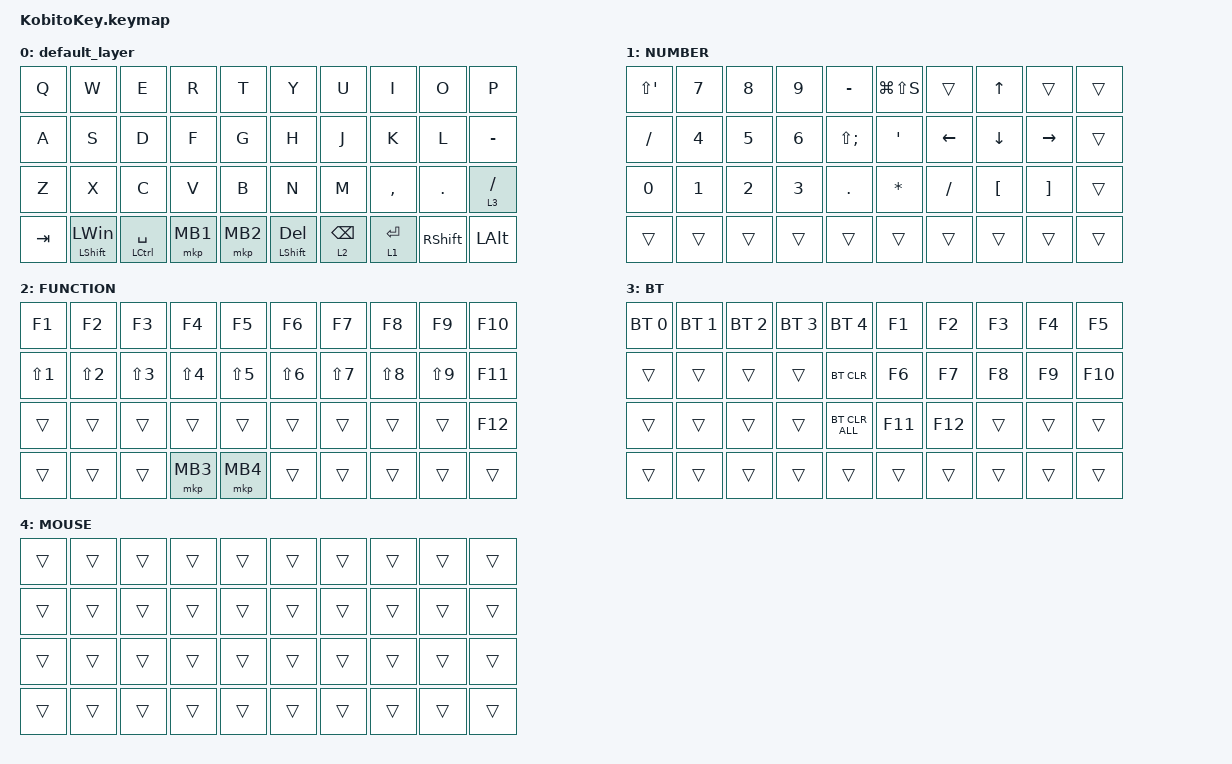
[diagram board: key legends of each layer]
#include <input/processors.dtsi>
#include <behaviors.dtsi>
#include <dt-bindings/zmk/bt.h>
#include <dt-bindings/zmk/keys.h>
#include <dt-bindings/zmk/pointing.h>

/ {
    combos {
        compatible = "zmk,combos";

        combo_eisu {
            timeout-ms = <50>;
            key-positions = <12 13>;
            bindings = <&kp LANG1>;
        };

        combo_kana {
            timeout-ms = <50>;
            key-positions = <16 17>;
            bindings = <&kp LANG2>;
        };

        combo_esc {
            timeout-ms = <50>;
            key-positions = <20 21>;
            bindings = <&kp ESC>;
        };

        combo_tab {
            timeout-ms = <50>;
            key-positions = <33 34>;
            bindings = <&mkp MCLK>;
        };
    };

    keymap {
        compatible = "zmk,keymap";

        default_layer {
            bindings = <
&kp Q    &kp W                    &kp E                   &kp R     &kp T     &kp Y              &kp U            &kp I        &kp O      &kp P
&kp A    &kp S                    &kp D                   &kp F     &kp G     &kp H              &kp J            &kp K        &kp L      &kp MINUS
&kp Z    &kp X                    &kp C                   &kp V     &kp B     &kp N              &kp M            &kp COMMA    &kp DOT    &lt 3 SLASH
&kp TAB  &mt LEFT_SHIFT LEFT_WIN  &mt LEFT_CONTROL SPACE  &mkp MB1  &mkp MB2  &mt LSHIFT DELETE  &lt 2 BACKSPACE  &lt 1 ENTER  &kp RSHFT  &kp LALT
            >;
        };

        layer1 {
            label = "NUMBER";
            bindings = <
&kp LS(APOS)  &kp N7        &kp N8        &kp N9        &kp MINUS          &kp LG(LS(S))   &trans     &kp UP    &trans     &trans
&kp SLASH     &kp N4        &kp N5        &kp N6        &kp LS(SEMICOLON)  &kp APOSTROPHE  &kp LEFT   &kp DOWN  &kp RIGHT  &trans
&kp NUMBER_0  &kp NUMBER_1  &kp NUMBER_2  &kp NUMBER_3  &kp PERIOD         &kp ASTRK       &kp SLASH  &kp LBKT  &kp RBKT   &trans
&trans        &trans        &trans        &trans        &trans             &trans          &trans     &trans    &trans     &trans
            >;
        };

        layer2 {
            bindings = <
&kp F1            &kp F2            &kp F3            &kp F4            &kp F5      &kp F6            &kp F7      &kp F8      &kp F9      &kp F10
&kp LS(NUMBER_1)  &kp LS(NUMBER_2)  &kp LS(NUMBER_3)  &kp LS(NUMBER_4)  &kp LS(N5)  &kp LS(NUMBER_6)  &kp LS(N7)  &kp LS(N8)  &kp LS(N9)  &kp F11
&trans            &trans            &trans            &trans            &trans      &trans            &trans      &trans      &trans      &kp F12
&trans            &trans            &trans            &mkp MB3          &mkp MB4    &trans            &trans      &trans      &trans      &trans
            >;

            label = "FUNCTION";
        };

        layer3 {
            label = "BT";
            bindings = <
&bt BT_SEL 0  &bt BT_SEL 1  &bt BT_SEL 2  &bt BT_SEL 3  &bt BT_SEL 4    &kp F1   &kp F2   &kp F3  &kp F4  &kp F5
&trans        &trans        &trans        &trans        &bt BT_CLR      &kp F6   &kp F7   &kp F8  &kp F9  &kp F10
&trans        &trans        &trans        &trans        &bt BT_CLR_ALL  &kp F11  &kp F12  &trans  &trans  &trans
&trans        &trans        &trans        &trans        &trans          &trans   &trans   &trans  &trans  &trans
            >;
        };

        layer4 {
            label = "MOUSE";
            bindings = <
&trans  &trans  &trans  &trans  &trans  &trans  &trans  &trans  &trans  &trans
&trans  &trans  &trans  &trans  &trans  &trans  &trans  &trans  &trans  &trans
&trans  &trans  &trans  &trans  &trans  &trans  &trans  &trans  &trans  &trans
&trans  &trans  &trans  &trans  &trans  &trans  &trans  &trans  &trans  &trans
            >;
        };
    };
};
